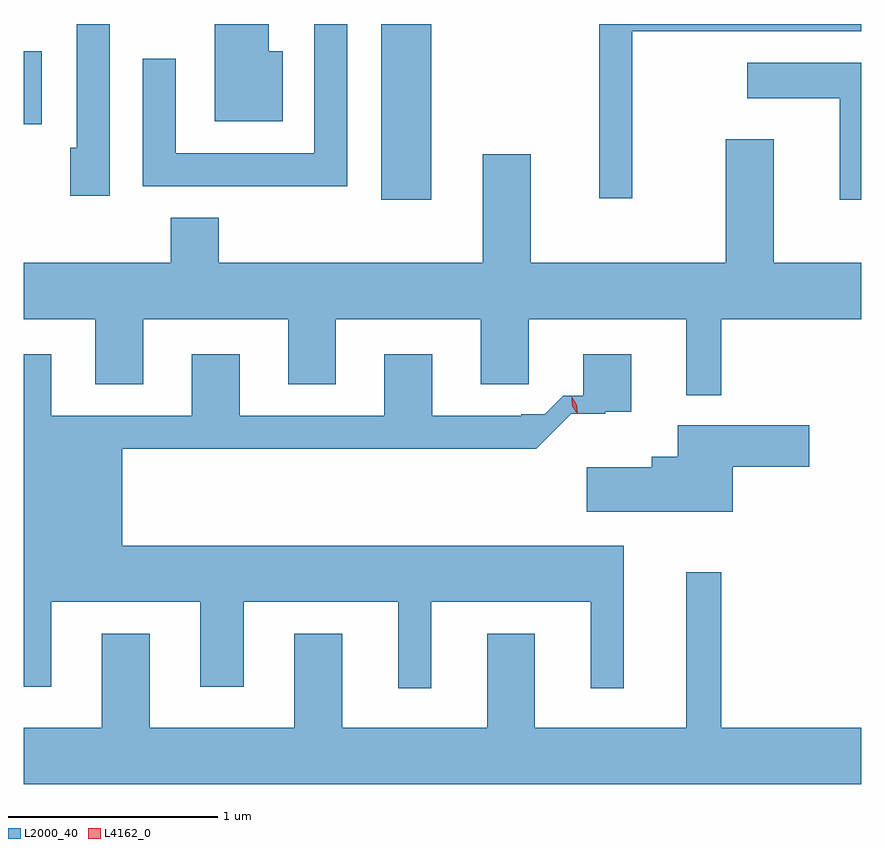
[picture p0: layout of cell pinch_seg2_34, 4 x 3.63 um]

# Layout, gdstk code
import gdstk
lib = gdstk.Library(unit=1e-6, precision=1e-09)
def R(c, l, rs):  # rectangles x0, y0, x1, y1
    for r in rs: c.add(gdstk.rectangle(r[:2], r[2:], *l))
def P(c, l, *ps):  # polygons
    for p in ps: c.add(gdstk.Polygon(p, *l))
L2000_40 = (2000, 40)
L4162_0 = (4162, 0)

pinch_seg2_34 = lib.new_cell('pinch_seg2_34')
R(pinch_seg2_34, L2000_40, [(845.406,1108.826,845.644,1109.665), (843.698,1109.186,843.784,1109.534)])
P(pinch_seg2_34, L2000_40, [(844.109,1109.665),(843.951,1109.665),(843.951,1109.074),(843.921,1109.074),(843.921,1108.846),(844.109,1108.846)],
  [(846.604,1109.631),(847.698,1109.631),(847.698,1109.665),(846.446,1109.665),(846.446,1108.833),(846.604,1108.833)],
  [(844.934,1109.534),(844.869,1109.534),(844.869,1109.665),(844.611,1109.665),(844.611,1109.201),(844.934,1109.201)],
  [(845.244,1109.665),(845.086,1109.665),(845.086,1109.049),(844.424,1109.049),(844.424,1109.498),(844.266,1109.498),(844.266,1108.891),(845.244,1108.891)],
  [(847.698,1109.479),(847.153,1109.479),(847.153,1109.311),(847.596,1109.311),(847.596,1108.826),(847.698,1108.826)],
  [(847.029,1108.256),(847.698,1108.256),(847.698,1108.524),(847.279,1108.524),(847.279,1109.114),(847.051,1109.114),(847.051,1108.524),(846.119,1108.524),(846.119,1109.044),(845.891,1109.044),(845.891,1108.524),(844.629,1108.524),(844.629,1108.739),(844.401,1108.739),(844.401,1108.524),(843.698,1108.524),(843.698,1108.256),(844.041,1108.256),(844.041,1107.946),(844.269,1107.946),(844.269,1108.256),(844.961,1108.256),(844.961,1107.946),(845.189,1107.946),(845.189,1108.256),(845.881,1108.256),(845.881,1107.946),(846.109,1107.946),(846.109,1108.256),(846.861,1108.256),(846.861,1107.893),(847.029,1107.893)],
  [(845.644,1106.906),(846.406,1106.906),(846.406,1106.493),(846.564,1106.493),(846.564,1107.174),(844.169,1107.174),(844.169,1107.636),(846.145,1107.636),(846.313,1107.804),(846.475,1107.804),(846.475,1107.813),(846.599,1107.813),(846.599,1108.089),(846.371,1108.089),(846.371,1107.89),(846.275,1107.89),(846.186,1107.801),(846.075,1107.801),(846.075,1107.794),(845.649,1107.794),(845.649,1108.089),(845.421,1108.089),(845.421,1107.794),(844.729,1107.794),(844.729,1108.089),(844.501,1108.089),(844.501,1107.794),(843.829,1107.794),(843.829,1108.089),(843.698,1108.089),(843.698,1106.501),(843.829,1106.501),(843.829,1106.906),(844.541,1106.906),(844.541,1106.501),(844.749,1106.501),(844.749,1106.906),(845.486,1106.906),(845.486,1106.493),(845.644,1106.493)],
  [(847.084,1107.551),(847.449,1107.551),(847.449,1107.749),(846.821,1107.749),(846.821,1107.599),(846.696,1107.599),(846.696,1107.549),(846.386,1107.549),(846.386,1107.336),(847.084,1107.336)],
  [(847.698,1106.304),(847.029,1106.304),(847.029,1107.048),(846.861,1107.048),(846.861,1106.304),(846.139,1106.304),(846.139,1106.754),(845.911,1106.754),(845.911,1106.304),(845.219,1106.304),(845.219,1106.754),(844.991,1106.754),(844.991,1106.304),(844.299,1106.304),(844.299,1106.754),(844.071,1106.754),(844.071,1106.304),(843.698,1106.304),(843.698,1106.036),(847.698,1106.036)])
P(pinch_seg2_34, L4162_0, [(846.343,1107.805),(846.32,1107.841),(846.316,1107.883),(846.316,1107.884),(846.316,1107.884),(846.339,1107.848),(846.344,1107.805),(846.344,1107.805)],
  [(846.336,1107.81),(846.317,1107.84),(846.316,1107.876),(846.316,1107.877),(846.316,1107.877),(846.336,1107.846),(846.337,1107.81),(846.337,1107.81)])

lib.write_gds('pinch_seg2_34.gds')
